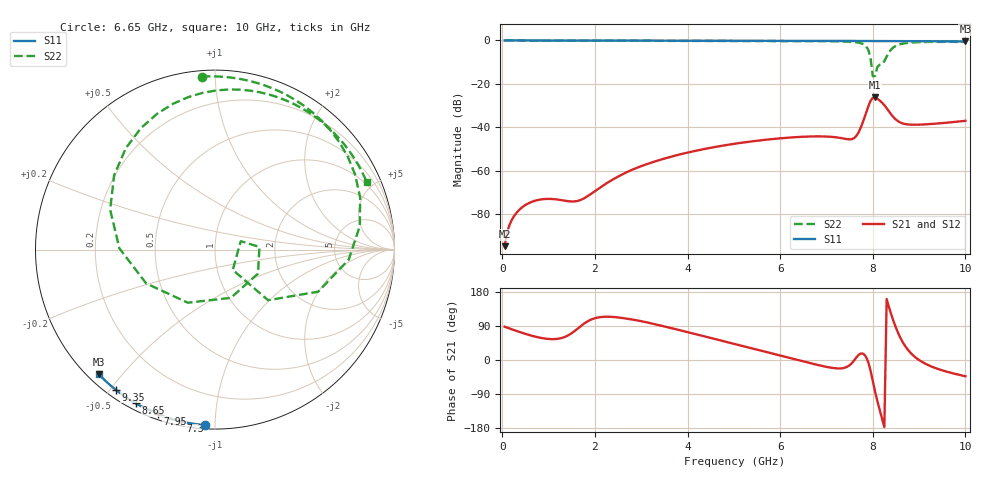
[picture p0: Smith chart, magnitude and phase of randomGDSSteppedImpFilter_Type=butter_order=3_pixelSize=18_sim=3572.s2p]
! freq	dB(S11)	phase(S11)	dB(S12)	phase(S12)
!  dB(S21)	phase(S21)	dB(S22)	phase(S22)
!S-par simulation data
#  GHz  S  DB  R 50
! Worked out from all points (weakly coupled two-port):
!   200 points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, 50 MHz to 10 GHz, reference 50 ohm
!   highest |S21| = -26.28 dB at 8.05 GHz (marker M1); lowest = -94.9 dB at 50 MHz (marker M2)
!   lowest |S11| = -0.5 dB at 10 GHz (marker M3), VSWR 38.44, Z = 1.55 - j21.8 ohm
!   |S11| at or under -10 dB: nowhere
!   |S22| runs from -16.5 to 0.0 dB; largest |S21 - S12| = 0
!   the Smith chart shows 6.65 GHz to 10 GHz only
!   S11 on the Smith chart (normalised r, x): 6.65 GHz: 0.02, -0.94; 7.3 GHz: 0.02, -0.82; 7.95 GHz: 0.02, -0.71; 8.65 GHz: 0.03, -0.61; 9.35 GHz: 0.03, -0.52; 10 GHz: 0.03, -0.44
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0.05  -0.00 -0.8  -94.89 87.8  -94.89 87.8  -0.00 -3.8
0.9  -0.02 -13.7  -73.16 57.0  -73.16 57.0  -0.07 -63.3
1.75  -0.03 -26.5  -72.99 94.7  -72.99 94.7  -0.11 -109.7
2.55  -0.05 -38.2  -62.23 111.5  -62.23 111.5  -0.12 -142.4
3.4  -0.07 -50.4  -55.12 91.5  -55.12 91.5  -0.14 -170.4
5.05  -0.11 -72.9  -47.54 41.1  -47.54 41.1  -0.19 143.1
6.65  -0.18 -93.4  -44.29 -8.3  -44.29 -8.3  -0.29 94.4
6.7  -0.18 -94.0  -44.26 -9.8  -44.26 -9.8  -0.30 92.5
7.3  -0.22 -101.4  -44.96 -22.3  -44.96 -22.3  -0.45 64.8
7.6  -0.23 -105.0  -45.01 -0.6  -45.01 -0.6  -0.76 40.9
7.8  -0.25 -107.4  -36.87 16.3  -36.87 16.3  -1.75 9.3
7.9  -0.27 -108.7  -30.63 -4.8  -30.63 -4.8  -4.14 -22.2
7.95  -0.28 -109.3  -27.96 -26.9  -27.96 -26.9  -7.77 -43.6
8  -0.30 -109.8  -26.45 -55.1  -26.45 -55.1  -16.46 -48.8
8.05  -0.30 -110.4  -26.28 -83.5  -26.28 -83.5  -16.42 18.1
8.15  -0.31 -111.4  -27.69 -132.0  -27.69 -132.0  -11.23 -29.2
8.25  -0.31 -112.6  -29.88 -177.0  -29.88 -177.0  -9.57 -117.2
8.35  -0.31 -113.7  -32.73 139.8  -32.73 139.8  -5.47 179.3
8.5  -0.31 -115.5  -36.51 85.2  -36.51 85.2  -2.47 131.3
8.65  -0.32 -117.2  -38.30 46.4  -38.30 46.4  -1.45 105.9
9.35  -0.38 -125.4  -38.39 -21.2  -38.39 -21.2  -0.66 53.6
10  -0.45 -132.9  -37.06 -42.9  -37.06 -42.9  -0.68 23.8
